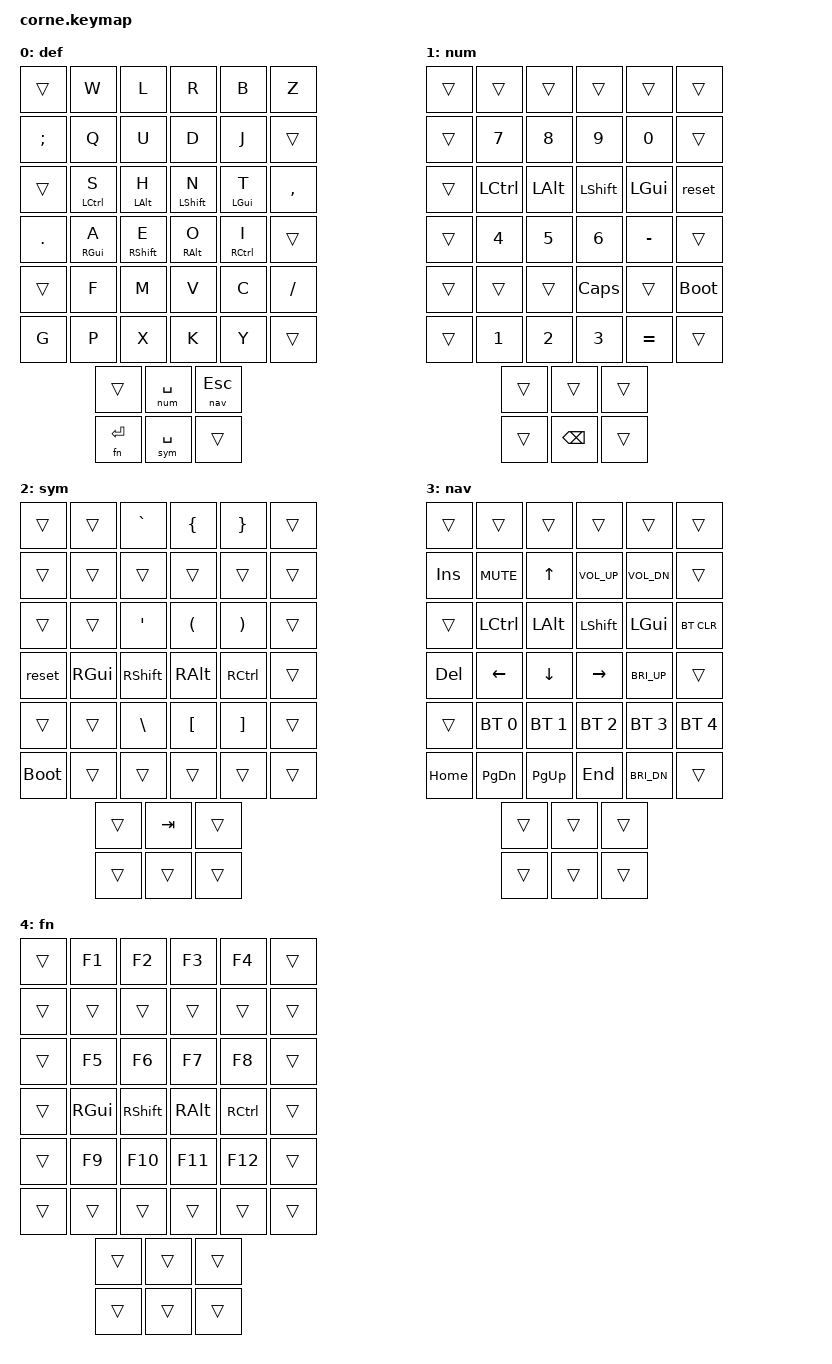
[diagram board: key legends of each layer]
/*
 * Copyright (c) 2020 The ZMK Contributors
 *
 * SPDX-License-Identifier: MIT
 */

#include <behaviors.dtsi>
#include <dt-bindings/zmk/keys.h>
#include <dt-bindings/zmk/bt.h>

#define def 0
#define num 1
#define sym 2
#define nav 3
#define fn 4
#define _bt 5

&kscan0 {
    debounce-period = <32>;
};

&lt {
    flavor = "balanced";
    tapping-term-ms = <256>;
};

/ {
        behaviors {
            mt_l: left_hand_positional_hold_tap {
                compatible = "zmk,behavior-hold-tap";
                label = "LEFT_POSITIONAL_HOLD_TAP";
                #binding-cells = <2>;
                flavor = "balanced";
                tapping-term-ms = <256>;
                bindings = <&kp>, <&kp>;
                hold-trigger-key-positions = <6 7 8 9 10 11 18 19 20 21 22 23 30 31 32 33 34 35 36 37 38 39 40 41>;
            };
            mt_r: right_hand_positional_hold_tap {
                compatible = "zmk,behavior-hold-tap";
                label = "RIGHT_POSITIONAL_HOLD_TAP";
                #binding-cells = <2>;
                flavor = "balanced";
                tapping-term-ms = <256>;
                bindings = <&kp>, <&kp>;
                hold-trigger-key-positions = <0 1 2 3 4 5 12 13 14 15 16 17 24 25 26 27 28 29 36 37 38 39 40 41>;
            };
        };

        
        keymap {
                compatible = "zmk,keymap";

                def {
// ┌─────┬─────┬─────┬─────┬─────┬─────┐           ┌─────┬─────┬─────┬─────┬─────┬─────┐
// │     │  W  │  L  │  R  │  B  │  Z  │           │  ;  │  Q  │  U  │  D  │  J  │     │
// ├─────┼─────┼─────┼─────┼─────┼─────┤           ├─────┼─────┼─────┼─────┼─────┼─────┤
// │     │  S  │  H  │  N  │  T  │  ,  │           │  .  │  A  │  E  │  O  │  I  │     │
// ├─────┼─ c ─┼─ a ─┼─ s ─┼─ g ─┼─────┤           ├─────┼─ g ─┼─ s ─┼─ a ─┼─ c ─┼─────┤
// │     │  F  │  M  │  V  │  C  │  ?  │           │  G  │  P  │  X  │  K  │  Y  │     │
// └─────┴─────┴─────┴──┬──┴──┬──┴──┬──┴──┐     ┌──┴──┬──┴──┬──┴──┬──┴─────┴─────┴─────┘
//                      │     │ Spc │ Esc │     │ Ret │ Spc │     │
//                      └─────┴ num ┴ nav ┘     └─fn──┴ sym ┴─────┘

                        bindings = <
    &trans      &kp W       &kp L       &kp R       &kp B       &kp Z
        &kp SEMI        &kp Q       &kp U       &kp D       &kp J       &trans

    &trans       &mt_l LCTRL S     &mt_l LALT H      &mt_l LSHFT N     &mt_l LGUI T     &kp COMMA
        &kp DOT     &mt_r RGUI A      &mt_r RSHFT E     &mt_r RALT O      &mt_r RCTRL I     &trans

    &trans       &kp F       &kp M       &kp V       &kp C       &kp SLASH
        &kp G       &kp P       &kp X       &kp K       &kp Y       &trans
                  
    &trans     &lt num SPACE       &lt nav ESC
        &lt fn RET     &lt sym SPACE       &trans
                        >;
                };
                
                num {
// ┌─────┬─────┬─────┬─────┬─────┬─────┐           ┌─────┬─────┬─────┬─────┬─────┬─────┐
// │     │     │     │     │     │     │           │     │  7  │  8  │  9  │  0  │     │
// ├─────┼─────┼─────┼─────┼─────┼─────┤           ├─────┼─────┼─────┼─────┼─────┼─────┤
// │     │  c  │  a  │  s  │  g  │ Rst │           │     │  4  │  5  │  6  │  -  │     │
// ├─────┼─────┼─────┼─────┼─────┼─────┤           ├─────┼─────┼─────┼─────┼─────┼─────┤
// │     │     │     │ cap │     │ BLd │           │     │  1  │  2  │  3  │  =  │     │
// └─────┴─────┴─────┴──┬──┴──┬──┴──┬──┴──┐     ┌──┴──┬──┴──┬──┴──┬──┴─────┴─────┴─────┘
//                      │     │     │     │     │     │ Bsp │     │
//                      └─────┴─────┴─────┘     └─────┴─────┴─────┘

                        bindings = <
    &trans     &trans       &trans      &trans      &trans       &trans
        &trans        &kp N7      &kp N8      &kp N9      &kp N0        &trans

    &trans      &kp LCTRL     &kp LALT       &kp LSHFT     &kp LGUI     &reset
        &trans     &kp N4      &kp N5     &kp N6      &kp MINUS     &trans

    &trans     &trans       &trans      &kp CLCK      &trans       &bootloader
        &trans       &kp N1       &kp N2       &kp N3       &kp EQUAL     &trans

    &trans      &trans      &trans
        &trans      &kp BSPC      &trans

                        >;
                };

                sym {
// ┌─────┬─────┬─────┬─────┬─────┬─────┐           ┌─────┬─────┬─────┬─────┬─────┬─────┐
// │     │     │  `  │  {  │  }  │     │           │     │     │     │     │     │     │
// ├─────┼─────┼─────┼─────┼─────┼─────┤           ├─────┼─────┼─────┼─────┼─────┼─────┤
// │     │     │  '  │  (  │  )  │     │           │ Rst │  g  │  s  │  a  │  c  │     │
// ├─────┼─────┼─────┼─────┼─────┼─────┤           ├─────┼─────┼─────┼─────┼─────┼─────┤
// │     │     │  \  │  [  │  ]  │     │           │ BLd │     │     │     │     │     │
// └─────┴─────┴─────┴──┬──┴──┬──┴──┬──┴──┐     ┌──┴──┬──┴──┬──┴──┬──┴─────┴─────┴─────┘
//                      │     │ Tab │     │     │     │     │     │
//                      └─────┴─────┴─────┘     └─────┴─────┴─────┘

                        bindings = <
    &trans      &trans      &kp GRAVE       &kp LBRC      &kp RBRC       &trans
        &trans     &trans       &trans      &trans      &trans       &trans

    &trans      &trans      &kp SQT     &kp LPAR      &kp RPAR       &trans
        &reset     &kp RGUI        &kp RSHFT        &kp RALT        &kp RCTRL      &trans

    &trans      &trans      &kp BSLH      &kp LBKT      &kp RBKT       &trans
        &bootloader     &trans       &trans      &trans      &trans       &trans

    &trans      &kp TAB     &trans
        &trans      &trans      &trans
                        >;
                };

                nav {
// ┌─────┬─────┬─────┬─────┬─────┬─────┐           ┌─────┬─────┬─────┬─────┬─────┬─────┐
// │     │     │     │     │     │     │           │ Ins │ Mut │  ↑  │ VlU │ VlD │     │
// ├─────┼─────┼─────┼─────┼─────┼─────┤           ├─────┼─────┼─────┼─────┼─────┼─────┤
// │     │  c  │  a  │  s  │  g  │ BtC │           │ Del │  ←  │  ↓  │  →  │ BrU │     │
// ├─────┼─────┼─────┼─────┼─────┼─────┤           ├─────┼─────┼─────┼─────┼─────┼─────┤
// │     │ Bt0 │ Bt1 │ Bt2 │ Bt3 │ Bt4 │           │ Hom │ PgD │ PgU │ End │ BrD │     │
// └─────┴─────┴─────┴──┬──┴──┬──┴──┬──┴──┐     ┌──┴──┬──┴──┬──┴──┬──┴─────┴─────┴─────┘
//                      │     │     │     │     │     │     │     │
//                      └─────┴─────┴─────┘     └─────┴─────┴─────┘

                        bindings = <
    &trans     &trans       &trans      &trans      &trans       &trans
        &kp INS        &kp K_MUTE      &kp UP      &kp C_VOL_UP      &kp C_VOL_DN        &trans

    &trans      &kp LCTRL     &kp LALT       &kp LSHFT     &kp LGUI     &bt BT_CLR
        &kp DEL     &kp LEFT      &kp DOWN     &kp RIGHT      &kp C_BRI_UP     &trans

    &trans     &bt BT_SEL 0       &bt BT_SEL 1      &bt BT_SEL 2      &bt BT_SEL 3       &bt BT_SEL 4
        &kp HOME       &kp PG_DN       &kp PG_UP        &kp END       &kp C_BRI_DN     &trans

    &trans      &trans      &trans
        &trans      &trans      &trans
                        >;
                };

                fn {
// ┌─────┬─────┬─────┬─────┬─────┬─────┐           ┌─────┬─────┬─────┬─────┬─────┬─────┐
// │     │ F1  │ F2  │ F3  │ F4  │     │           │     │     │     │     │     │     │
// ├─────┼─────┼─────┼─────┼─────┼─────┤           ├─────┼─────┼─────┼─────┼─────┼─────┤
// │     │ F5  │ F6  │ F7  │ F8  │     │           │     │  g  │  s  │  a  │  c  │     │
// ├─────┼─────┼─────┼─────┼─────┼─────┤           ├─────┼─────┼─────┼─────┼─────┼─────┤
// │     │ F9  │ F10 │ F11 │ F12 │     │           │     │     │     │     │     │     │
// └─────┴─────┴─────┴──┬──┴──┬──┴──┬──┴──┐     ┌──┴──┬──┴──┬──┴──┬──┴─────┴─────┴─────┘
//                      │     │     │     │     │     │     │     │
//                      └─────┴─────┴─────┘     └─────┴─────┴─────┘

                        bindings = <
    &trans      &kp F1        &kp F2      &kp F3      &kp F4       &trans
        &trans     &trans       &trans      &trans      &trans       &trans

    &trans      &kp F5        &kp F6      &kp F7      &kp F8       &trans
        &trans     &kp RGUI        &kp RSHFT        &kp RALT        &kp RCTRL      &trans

    &trans      &kp F9        &kp F10      &kp F11      &kp F12       &trans
        &trans     &trans       &trans      &trans      &trans       &trans

    &trans      &trans      &trans
        &trans      &trans      &trans
                        >;
                };
        };
};
